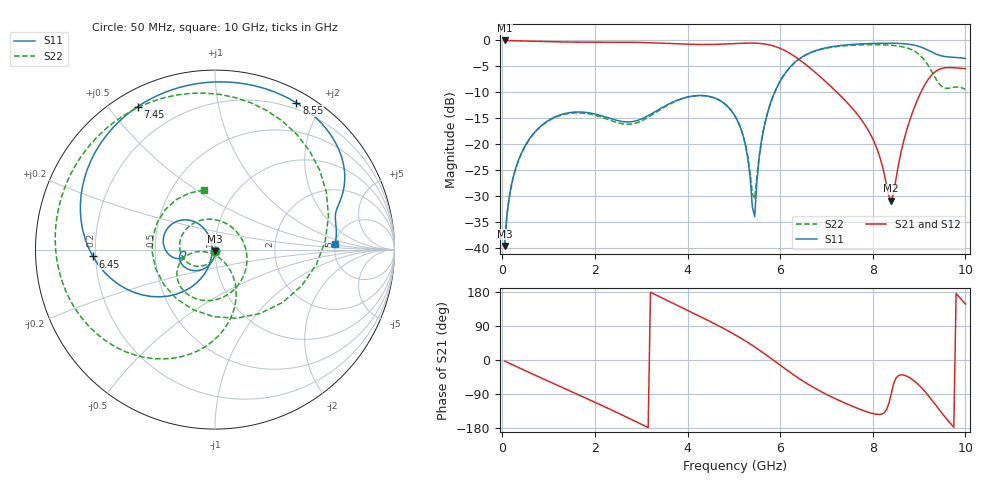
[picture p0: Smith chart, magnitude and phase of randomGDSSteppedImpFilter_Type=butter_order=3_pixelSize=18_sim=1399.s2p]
! freq	dB(S11)	phase(S11)	dB(S12)	phase(S12)
!  dB(S21)	phase(S21)	dB(S22)	phase(S22)
!S-par simulation data
#  GHz  S  DB  R 50
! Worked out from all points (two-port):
!   200 points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, 50 MHz to 10 GHz, reference 50 ohm
!   highest |S21| = -0.02 dB at 50 MHz (marker M1); lowest = -30.9 dB at 8.4 GHz (marker M2)
!   |S21| within 3 dB of the highest: start of sweep to 6.302 GHz
!   lowest |S11| = -39.6 dB at 50 MHz (marker M3), VSWR 1.02, Z = 50.1 - j1.05 ohm
!   |S11| at or under -10 dB: start of sweep to 5.882 GHz
!   |S22| runs from -39.6 to -0.8 dB; largest |S21 - S12| = 0
!   S11 on the Smith chart (normalised r, x): 50 MHz: 1.00, -0.02; 6.45 GHz: 0.19, -0.03; 7.45 GHz: 0.07, +0.59; 8.55 GHz: 0.13, +1.69; 10 GHz: 5.00, +0.52
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0.05  -39.58 -85.5  -0.02 -2.9  -0.02 -2.9  -39.63 -86.1
0.2  -27.74 -95.8  -0.05 -11.4  -0.05 -11.4  -27.79 -98.8
0.5  -20.20 -112.5  -0.12 -28.3  -0.12 -28.3  -20.28 -120.2
1.75  -13.83 -166.1  -0.35 -97.5  -0.35 -97.5  -14.01 152.0
2.7  -15.71 -173.2  -0.36 -151.6  -0.36 -151.6  -16.15 49.4
3.4  -13.20 -167.0  -0.52 166.8  -0.52 166.8  -13.39 -40.9
4.3  -10.61 163.1  -0.79 113.2  -0.79 113.2  -10.64 -115.8
5.05  -14.98 123.9  -0.60 64.9  -0.60 64.9  -14.93 -165.2
5.25  -20.18 114.6  -0.53 50.3  -0.53 50.3  -19.98 -173.3
5.45  -33.93 -147.7  -0.53 34.6  -0.53 34.6  -30.50 -94.6
5.55  -22.36 -110.7  -0.57 26.2  -0.57 26.2  -22.05 -54.5
5.75  -13.27 -119.4  -0.83 8.8  -0.83 8.8  -13.26 -59.0
6.45  -3.33 -176.8  -3.95 -52.2  -3.95 -52.2  -3.38 -115.9
6.7  -2.18 164.6  -5.73 -71.0  -5.73 -71.0  -2.25 -134.7
7.45  -0.86 118.4  -12.00 -116.4  -12.00 -116.4  -1.00 177.0
8.35  -0.55 71.5  -30.04 -113.8  -30.04 -113.8  -0.92 117.0
8.4  -0.55 68.9  -30.86 -87.9  -30.86 -87.9  -0.95 112.8
8.55  -0.58 61.0  -24.18 -41.6  -24.18 -41.6  -1.10 98.9
9.05  -1.33 33.4  -9.79 -72.9  -9.79 -72.9  -3.13 27.2
9.4  -2.75 19.7  -5.74 -125.6  -5.74 -125.6  -7.94 -72.6
9.7  -3.23 12.5  -5.24 -170.6  -5.24 -170.6  -9.11 -177.8
10  -3.48 2.5  -5.45 147.7  -5.45 147.7  -9.45 100.5
